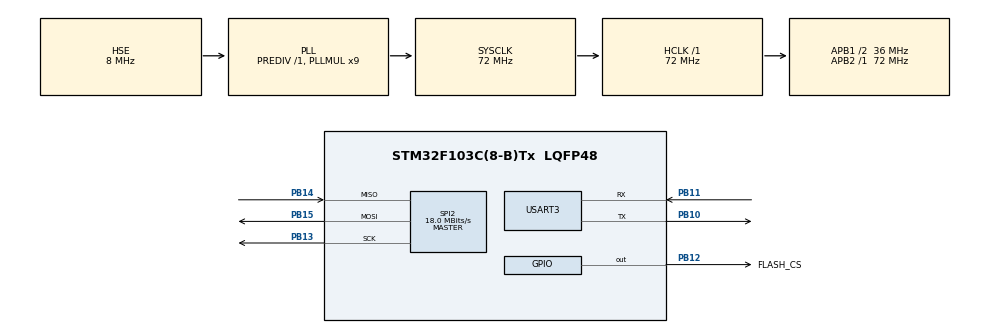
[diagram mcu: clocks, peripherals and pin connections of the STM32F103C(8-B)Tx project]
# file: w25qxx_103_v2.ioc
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Dma.Request0=USART3_RX
Dma.USART3_RX.0.Direction=DMA_PERIPH_TO_MEMORY
Dma.USART3_RX.0.Instance=DMA1_Channel3
Dma.USART3_RX.0.MemDataAlignment=DMA_MDATAALIGN_BYTE
Dma.USART3_RX.0.MemInc=DMA_MINC_ENABLE
Dma.USART3_RX.0.Mode=DMA_NORMAL
Dma.USART3_RX.0.PeriphDataAlignment=DMA_PDATAALIGN_BYTE
Dma.USART3_RX.0.PeriphInc=DMA_PINC_DISABLE
Dma.USART3_RX.0.Priority=DMA_PRIORITY_LOW
Mcu.Family=STM32F1
Mcu.Name=STM32F103C(8-B)Tx
Mcu.Package=LQFP48
NVIC.DMA1_Channel3_IRQn=true\:0\:0\:false\:false\:true\:false\:true\:true
NVIC.PriorityGroup=NVIC_PRIORITYGROUP_4
NVIC.TIM4_IRQn=true\:15\:0\:false\:false\:true\:false\:true\:true
NVIC.TimeBase=TIM4_IRQn
NVIC.TimeBaseIP=TIM4
NVIC.USART3_IRQn=true\:0\:0\:false\:false\:true\:true\:true\:true
PA13.Mode=Serial_Wire
PA13.Signal=SYS_JTMS-SWDIO
PA14.Mode=Serial_Wire
PA14.Signal=SYS_JTCK-SWCLK
PB10.Mode=Asynchronous
PB10.Signal=USART3_TX
PB11.Mode=Asynchronous
PB11.Signal=USART3_RX
PB12.GPIO_Label=FLASH_CS
PB12.PinState=GPIO_PIN_SET
PB12.Signal=GPIO_Output
PB13.Mode=Full_Duplex_Master
PB13.Signal=SPI2_SCK
PB14.Mode=Full_Duplex_Master
PB14.Signal=SPI2_MISO
PB15.Mode=Full_Duplex_Master
PB15.Signal=SPI2_MOSI
PD0-OSC_IN.Mode=HSE-External-Oscillator
PD0-OSC_IN.Signal=RCC_OSC_IN
PD1-OSC_OUT.Mode=HSE-External-Oscillator
PD1-OSC_OUT.Signal=RCC_OSC_OUT
ProjectManager.HeapSize=0x200
ProjectManager.StackSize=0x400
ProjectManager.TargetToolchain=STM32CubeIDE
RCC.AHBFreq_Value=72000000
RCC.APB1CLKDivider=RCC_HCLK_DIV2
RCC.APB1Freq_Value=36000000
RCC.APB1TimFreq_Value=72000000
RCC.APB2Freq_Value=72000000
RCC.APB2TimFreq_Value=72000000
RCC.HCLKFreq_Value=72000000
RCC.PLLMUL=RCC_PLL_MUL9
RCC.PLLSourceVirtual=RCC_PLLSOURCE_HSE
RCC.SYSCLKFreq_VALUE=72000000
RCC.SYSCLKSource=RCC_SYSCLKSOURCE_PLLCLK
RCC.USBFreq_Value=72000000
SPI2.CalculateBaudRate=18.0 MBits/s
SPI2.Direction=SPI_DIRECTION_2LINES
SPI2.Mode=SPI_MODE_MASTER
SPI2.VirtualType=VM_MASTER
USART3.VirtualMode=VM_ASYNC
VP_SYS_VS_tim4.Mode=TIM4
board=custom

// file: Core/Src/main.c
/* USER CODE BEGIN Header */
/**
  ******************************************************************************
  * @file           : main.c
  * @brief          : Main program body
  ******************************************************************************
  * @attention
  *
  * Copyright (c) 2022 STMicroelectronics.
  * All rights reserved.
  *
  * This software is licensed under terms that can be found in the LICENSE file
  * in the root directory of this software component.
  * If no LICENSE file comes with this software, it is provided AS-IS.
  *
  ******************************************************************************
  */
/* USER CODE END Header */
#include "main.h"

/* USER CODE BEGIN Includes */
#include "uartRingBufDMA.h"
#include <stdio.h>/* для printf */
#include "stdbool.h"
#include <w25qxx.h>
#include <string.h>
extern uint8_t MainBuf;
bool flag = 0;
/* USER CODE END Includes */

SPI_HandleTypeDef hspi2;

UART_HandleTypeDef huart3;
DMA_HandleTypeDef hdma_usart3_rx;

void SystemClock_Config(void);
static void MX_GPIO_Init(void);
static void MX_DMA_Init(void);
static void MX_SPI2_Init(void);
static void MX_USART3_UART_Init(void);
/* USER CODE BEGIN PFP */
int _write(int file, char *ptr, int len) {
	int i;
	HAL_UART_Transmit(&huart3, (uint8_t*) ptr, len, 50);
	for (i = 0; i < len; i++) {
		ITM_SendChar(*ptr++);
	}
	return len;
}
/* USER CODE END PFP */

/* USER CODE BEGIN 0 */
void W25Qxxx()
{
	  HAL_UART_Transmit(DEBUG_UART, (uint8_t*)"Start W25QXX\n", 13, 1000);

	  ///////////////////////////////////// ИНИЦИАЛИЗАЦИЯ ФЛЕШКИ ////////////////////////////////
	  W25qxx_Init();

	  ///////////////////////////////////// ОЧИСТКА ВСЕЙ ФЛЕШКИ ////////////////////////////////
	  //W25qxx_EraseChip();

	  ///////////////////////////////////// ОЧИСТКА БЛОКА ////////////////////////////////
	  W25qxx_EraseBlock(0); // 65536 байт

	  ///////////////////////////////////// ОЧИСТКА СЕКТОРА ////////////////////////////////
	  //W25qxx_EraseSector(0); // 4096 байт

	  ///////////////////////////////////// ЗАПИСЬ ПОБАЙТНО ////////////////////////////////
	  uint8_t b0 = 's';
	  uint8_t b1 = 't';
	  uint8_t b2 = 'D';

	  W25qxx_WriteByte(b0, 25);
	  W25qxx_WriteByte(b1, 26);
	  W25qxx_WriteByte(b2, 27);

	  ///////////////////////////////////// ЧТЕНИЕ ПОБАЙТНО ////////////////////////////////
	  uint8_t buf[64] = {0,};

	  W25qxx_ReadByte(&buf[0], 25);
	  W25qxx_ReadByte(&buf[1], 26);
	  W25qxx_ReadByte(&buf[2], 27);

	  HAL_UART_Transmit(DEBUG_UART, (uint8_t*)buf, strlen((char*)buf), 100);
	  HAL_UART_Transmit(DEBUG_UART, (uint8_t*)"\r\n", 2, 100);

	  ///////////////////////////////////// ЗАПИСЬ СТРАНИЦЫ ////////////////////////////////
	  uint8_t w_buf[] = "istarik.ru";

	  W25qxx_WritePage(w_buf, 0, 28, 10);

	  ///////////////////////////////////// ЧТЕНИЕ СТРАНИЦЫ ////////////////////////////////
	  memset(buf, 0, 64);
	  W25qxx_ReadPage(buf, 0, 28, 10);

	  HAL_UART_Transmit(DEBUG_UART, (uint8_t*)buf, strlen((char*)buf), 100);
	  HAL_UART_Transmit(DEBUG_UART, (uint8_t*)"\r\n", 2, 100);

	  ///////////////////////////////////// ЗАПИСЬ СЕКТОРА ////////////////////////////////
	  W25qxx_WriteSector(w_buf, 0, 1350, 10);

	  ///////////////////////////////////// ЧТЕНИЕ СЕКТОРА ////////////////////////////////
	  memset(buf, 0, 64);
	  W25qxx_ReadSector(buf, 0, 1350, 10);

	  HAL_UART_Transmit(DEBUG_UART, (uint8_t*)buf, strlen((char*)buf), 100);
	  HAL_UART_Transmit(DEBUG_UART, (uint8_t*)"\r\n", 2, 100);

	  ///////////////////////////////////// ЗАПИСЬ БЛОКА ////////////////////////////////
	  W25qxx_WriteBlock(w_buf, 0, 9350, 10);

	  ///////////////////////////////////// ЧТЕНИЕ БЛОКА ////////////////////////////////
	  memset(buf, 0, 64);
	  W25qxx_ReadBlock(buf, 0, 9350, 10);

	  HAL_UART_Transmit(DEBUG_UART, (uint8_t*)buf, strlen((char*)buf), 100);
	  HAL_UART_Transmit(DEBUG_UART, (uint8_t*)"\r\n", 2, 100);

	  /////////////////////////////////// ЧТЕНИЕ ЛЮБОГО КОЛИЧЕСТВА БАЙТ /////////////////
	  memset(buf, 0, 64);
	  W25qxx_ReadBytes(buf, 9350, 10);

	  HAL_UART_Transmit(DEBUG_UART, (uint8_t*)buf, strlen((char*)buf), 100);
	  HAL_UART_Transmit(DEBUG_UART, (uint8_t*)"\r\n", 2, 100);

	  /////////////////////////////////// СТЁРТА ЛИ СТРАНИЦА /////////////////////
	  uint8_t clear = W25qxx_IsEmptyPage(0, 40);

	  if(clear) HAL_UART_Transmit(DEBUG_UART, (uint8_t*)"Clear P\n", 8, 100);
	  else HAL_UART_Transmit(DEBUG_UART, (uint8_t*)"Not clear P\n", 12, 100);

	  /////////////////////////////////// СТЁРТ ЛИ СЕКТОР //////////////////////
	  clear = W25qxx_IsEmptySector(0, 1360);

	  if(clear) HAL_UART_Transmit(DEBUG_UART, (uint8_t*)"Clear S\n", 8, 100);
	  else HAL_UART_Transmit(DEBUG_UART, (uint8_t*)"Not clear S\n", 12, 100);

	  /////////////////////////////////// СТЁРТ ЛИ БЛОК ////////////////////////
	  clear = W25qxx_IsEmptyBlock(0, 9360);

	  if(clear) HAL_UART_Transmit(DEBUG_UART, (uint8_t*)"Clear B\n", 8, 100);
	  else HAL_UART_Transmit(DEBUG_UART, (uint8_t*)"Not clear B\n", 12, 100);

}
/* USER CODE END 0 */

int main(void)
{

  /* MCU Configuration--------------------------------------------------------*/

  /* Reset of all peripherals, Initializes the Flash interface and the Systick. */
  HAL_Init();

  /* Configure the system clock */
  SystemClock_Config();

  /* Initialize all configured peripherals */
  MX_GPIO_Init();
  MX_DMA_Init();
  MX_SPI2_Init();
  MX_USART3_UART_Init();
  /* USER CODE BEGIN 2 */
	Ringbuf_Init();
	printf("Hello world!\r\n");
//	if (waitFor("hello", 6000) != 1) {
//		Error_Handler();
//	}
  /* USER CODE END 2 */

  /* Infinite loop */
  while (1)
  {

    /* USER CODE BEGIN 3 */
		//printf("MainBuf = %d\r\n", MainBuf);
		if (MainBuf == 55 && flag == 0) { // 7
			flag = 1;
			W25Qxxx();
			printf("Data is recorded to w25qxx! \r\n");
		} else {
		}
	}
  /* USER CODE END 3 */
}

void SystemClock_Config(void)
{
  RCC_OscInitTypeDef RCC_OscInitStruct = {0};
  RCC_ClkInitTypeDef RCC_ClkInitStruct = {0};

  /** Initializes the RCC Oscillators according to the specified parameters
  * in the RCC_OscInitTypeDef structure.
  */
  RCC_OscInitStruct.OscillatorType = RCC_OSCILLATORTYPE_HSE;
  RCC_OscInitStruct.HSEState = RCC_HSE_ON;
  RCC_OscInitStruct.HSEPredivValue = RCC_HSE_PREDIV_DIV1;
  RCC_OscInitStruct.HSIState = RCC_HSI_ON;
  RCC_OscInitStruct.PLL.PLLState = RCC_PLL_ON;
  RCC_OscInitStruct.PLL.PLLSource = RCC_PLLSOURCE_HSE;
  RCC_OscInitStruct.PLL.PLLMUL = RCC_PLL_MUL9;
  if (HAL_RCC_OscConfig(&RCC_OscInitStruct) != HAL_OK)
  {
    Error_Handler();
  }

  /** Initializes the CPU, AHB and APB buses clocks
  */
  RCC_ClkInitStruct.ClockType = RCC_CLOCKTYPE_HCLK|RCC_CLOCKTYPE_SYSCLK
                              |RCC_CLOCKTYPE_PCLK1|RCC_CLOCKTYPE_PCLK2;
  RCC_ClkInitStruct.SYSCLKSource = RCC_SYSCLKSOURCE_PLLCLK;
  RCC_ClkInitStruct.AHBCLKDivider = RCC_SYSCLK_DIV1;
  RCC_ClkInitStruct.APB1CLKDivider = RCC_HCLK_DIV2;
  RCC_ClkInitStruct.APB2CLKDivider = RCC_HCLK_DIV1;

  if (HAL_RCC_ClockConfig(&RCC_ClkInitStruct, FLASH_LATENCY_2) != HAL_OK)
  {
    Error_Handler();
  }
}

static void MX_SPI2_Init(void)
{

  /* SPI2 parameter configuration*/
  hspi2.Instance = SPI2;
  hspi2.Init.Mode = SPI_MODE_MASTER;
  hspi2.Init.Direction = SPI_DIRECTION_2LINES;
  hspi2.Init.DataSize = SPI_DATASIZE_8BIT;
  hspi2.Init.CLKPolarity = SPI_POLARITY_LOW;
  hspi2.Init.CLKPhase = SPI_PHASE_1EDGE;
  hspi2.Init.NSS = SPI_NSS_SOFT;
  hspi2.Init.BaudRatePrescaler = SPI_BAUDRATEPRESCALER_2;
  hspi2.Init.FirstBit = SPI_FIRSTBIT_MSB;
  hspi2.Init.TIMode = SPI_TIMODE_DISABLE;
  hspi2.Init.CRCCalculation = SPI_CRCCALCULATION_DISABLE;
  hspi2.Init.CRCPolynomial = 10;
  if (HAL_SPI_Init(&hspi2) != HAL_OK)
  {
    Error_Handler();
  }

}

static void MX_USART3_UART_Init(void)
{

  huart3.Instance = USART3;
  huart3.Init.BaudRate = 115200;
  huart3.Init.WordLength = UART_WORDLENGTH_8B;
  huart3.Init.StopBits = UART_STOPBITS_1;
  huart3.Init.Parity = UART_PARITY_NONE;
  huart3.Init.Mode = UART_MODE_TX_RX;
  huart3.Init.HwFlowCtl = UART_HWCONTROL_NONE;
  huart3.Init.OverSampling = UART_OVERSAMPLING_16;
  if (HAL_UART_Init(&huart3) != HAL_OK)
  {
    Error_Handler();
  }

}

static void MX_DMA_Init(void)
{

  /* DMA controller clock enable */
  __HAL_RCC_DMA1_CLK_ENABLE();

  /* DMA interrupt init */
  /* DMA1_Channel3_IRQn interrupt configuration */
  HAL_NVIC_SetPriority(DMA1_Channel3_IRQn, 0, 0);
  HAL_NVIC_EnableIRQ(DMA1_Channel3_IRQn);

}

static void MX_GPIO_Init(void)
{
  GPIO_InitTypeDef GPIO_InitStruct = {0};

  /* GPIO Ports Clock Enable */
  __HAL_RCC_GPIOD_CLK_ENABLE();
  __HAL_RCC_GPIOB_CLK_ENABLE();
  __HAL_RCC_GPIOA_CLK_ENABLE();

  /*Configure GPIO pin Output Level */
  HAL_GPIO_WritePin(FLASH_CS_GPIO_Port, FLASH_CS_Pin, GPIO_PIN_SET);

  /*Configure GPIO pin : FLASH_CS_Pin */
  GPIO_InitStruct.Pin = FLASH_CS_Pin;
  GPIO_InitStruct.Mode = GPIO_MODE_OUTPUT_PP;
  GPIO_InitStruct.Pull = GPIO_NOPULL;
  GPIO_InitStruct.Speed = GPIO_SPEED_FREQ_LOW;
  HAL_GPIO_Init(FLASH_CS_GPIO_Port, &GPIO_InitStruct);

}

void HAL_TIM_PeriodElapsedCallback(TIM_HandleTypeDef *htim)
{
  if (htim->Instance == TIM4) {
    HAL_IncTick();
  }
}

void Error_Handler(void)
{
  __disable_irq();
  while (1)
  {
  }
}
